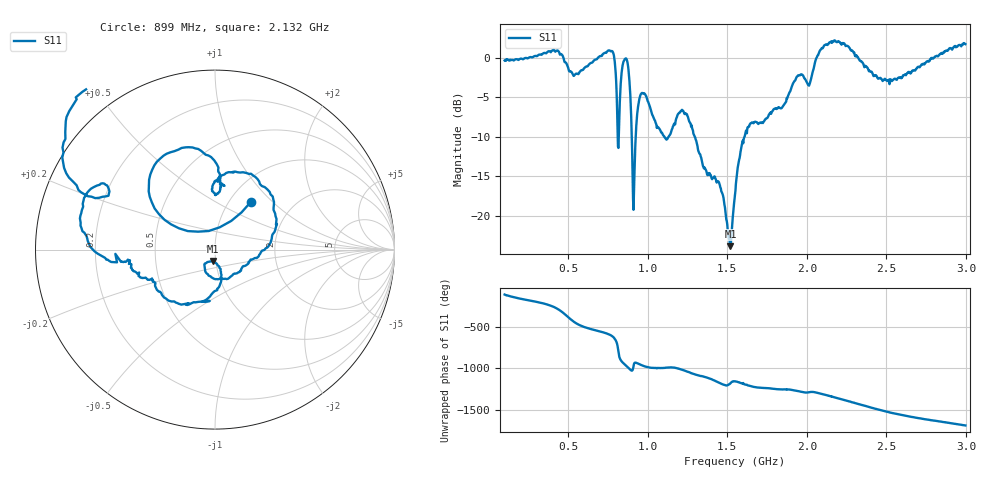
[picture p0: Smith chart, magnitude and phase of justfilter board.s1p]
# HZ S RI R 50
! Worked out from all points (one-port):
!   1009 points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, 100 MHz to 2.997 GHz, reference 50 ohm
!   lowest |S11| = -23.8 dB at 1.52 GHz (marker M1), VSWR 1.14, Z = 48.5 - j6.19 ohm
!   |S11| at or under -10 dB: 899.6 MHz to 924.2 MHz (24.63 MHz wide, 2.7 % of centre); 1.104 GHz to 1.131 GHz (26.97 MHz wide, 2.41 % of centre); 1.295 GHz to 1.609 GHz (313.5 MHz wide, 21.6 % of centre) (the widest 3 of 4)
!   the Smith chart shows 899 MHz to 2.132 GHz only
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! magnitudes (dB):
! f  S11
! 100 MHz  -0.4
! 462.1 MHz  0.3
! 545.5 MHz  -2.1
! 769.7 MHz  0.8
! 789.8 MHz  -0.1
! 809.9 MHz  -8.9
! 824.3 MHz  -5.6
! 844.4 MHz  -0.7
! 867.4 MHz  -0.2
! 881.8 MHz  -2.2
! 913.4 MHz  -17.2
! 939.2 MHz  -6.2
! 962.2 MHz  -4.5
! 1.112 GHz  -10.2
! 1.186 GHz  -7.3
! 1.25 GHz  -7.4
! 1.362 GHz  -14.1
! 1.451 GHz  -16.0
! 1.52 GHz  -23.8
! 1.549 GHz  -17.3
! 1.629 GHz  -8.8
! 1.911 GHz  -3.4
! 2.014 GHz  -3.5
! 2.118 GHz  1.6
! 2.273 GHz  1.1
! 2.463 GHz  -2.6
! 2.635 GHz  -1.9
! 2.997 GHz  1.7
